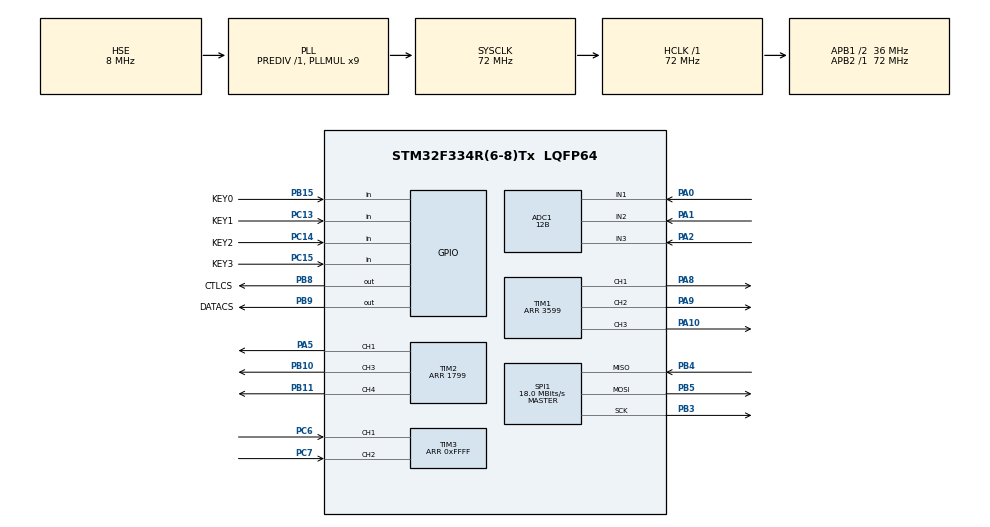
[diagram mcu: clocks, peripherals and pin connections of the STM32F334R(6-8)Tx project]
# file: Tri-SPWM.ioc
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ADC1.ClockPrescaler=ADC_CLOCK_ASYNC_DIV1
ADC1.ContinuousConvMode=DISABLE
ADC1.DMAContinuousRequests=DISABLE
ADC1.DataAlign=ADC_DATAALIGN_RIGHT
ADC1.DiscontinuousConvMode=ENABLE
ADC1.EOCSelection=ADC_EOC_SINGLE_CONV
ADC1.EnableAnalogWatchDog1=false
ADC1.EnableAnalogWatchDog2=false
ADC1.EnableAnalogWatchDog3=false
ADC1.EnableInjectedConversion=ENABLE
ADC1.EnableRegularConversion=DISABLE
ADC1.ExternalTrigInjecConv=ADC_EXTERNALTRIGINJECCONV_T6_TRGO
ADC1.ExternalTrigInjecConvEdge=ADC_EXTERNALTRIGINJECCONV_EDGE_RISING
ADC1.InjNumberOfConversion=3
ADC1.InjectedChannel-1\#ChannelInjectedConversion=ADC_CHANNEL_1
ADC1.InjectedChannel-2\#ChannelInjectedConversion=ADC_CHANNEL_2
ADC1.InjectedChannel-3\#ChannelInjectedConversion=ADC_CHANNEL_3
ADC1.InjectedConvMode=Discontinuous
ADC1.InjectedOffset-1\#ChannelInjectedConversion=0
ADC1.InjectedOffset-2\#ChannelInjectedConversion=0
ADC1.InjectedOffset-3\#ChannelInjectedConversion=0
ADC1.InjectedOffsetNumber-1\#ChannelInjectedConversion=ADC_OFFSET_NONE
ADC1.InjectedOffsetNumber-2\#ChannelInjectedConversion=ADC_OFFSET_NONE
ADC1.InjectedOffsetNumber-3\#ChannelInjectedConversion=ADC_OFFSET_NONE
ADC1.InjectedRank-1\#ChannelInjectedConversion=1
ADC1.InjectedRank-2\#ChannelInjectedConversion=2
ADC1.InjectedRank-3\#ChannelInjectedConversion=3
ADC1.InjectedSamplingTime-1\#ChannelInjectedConversion=ADC_SAMPLETIME_4CYCLES_5
ADC1.InjectedSamplingTime-2\#ChannelInjectedConversion=ADC_SAMPLETIME_4CYCLES_5
ADC1.InjectedSamplingTime-3\#ChannelInjectedConversion=ADC_SAMPLETIME_4CYCLES_5
ADC1.LowPowerAutoWait=DISABLE
ADC1.NbrOfDiscConversion=3
ADC1.Overrun=ADC_OVR_DATA_OVERWRITTEN
ADC1.QueueInjectedContext=DISABLE
ADC1.Resolution=ADC_RESOLUTION_12B
ADC1.ScanConvMode=ADC_SCAN_ENABLE
ADC1.SubFamily=STM32F334x8
ADC1.master=1
FREERTOS.INCLUDE_uxTaskGetStackHighWaterMark=0
FREERTOS.INCLUDE_uxTaskPriorityGet=0
FREERTOS.INCLUDE_vTaskDelete=0
FREERTOS.INCLUDE_vTaskPrioritySet=0
FREERTOS.INCLUDE_xTaskGetCurrentTaskHandle=0
FREERTOS.MEMORY_ALLOCATION=2
FREERTOS.Tasks01=T01,0,128,StartDefaultTask,As weak,NULL,Static,defaultTaskBuffer,defaultTaskControlBlock;GUI,-3,1024,StartGUI,As weak,NULL,Static,GUIBuffer,GUIControlBlock
FREERTOS.configMAX_TASK_NAME_LEN=4
FREERTOS.configMINIMAL_STACK_SIZE=128
FREERTOS.configTOTAL_HEAP_SIZE=4096
FREERTOS.configUSE_IDLE_HOOK=0
FREERTOS.configUSE_MALLOC_FAILED_HOOK=0
FREERTOS.configUSE_MUTEXES=0
FREERTOS.configUSE_TICKLESS_IDLE=1
FREERTOS.configUSE_TICK_HOOK=0
Mcu.Family=STM32F3
Mcu.Name=STM32F334R(6-8)Tx
Mcu.Package=LQFP64
NVIC.PriorityGroup=NVIC_PRIORITYGROUP_4
NVIC.TIM1_UP_TIM16_IRQn=true\:0\:0\:false\:false\:true\:false
NVIC.TIM6_DAC1_IRQn=true\:0\:0\:false\:false\:true\:false
NVIC.TIM7_DAC2_IRQn=true\:0\:0\:false\:false\:true\:false
NVIC.TimeBase=TIM7_DAC2_IRQn
NVIC.TimeBaseIP=TIM7
PA0.Mode=IN1-Single-Ended
PA0.Signal=ADC1_IN1
PA1.Mode=IN2-Single-Ended
PA1.Signal=ADC1_IN2
PA10.Signal=S_TIM1_CH3
PA13.Mode=Serial_Wire
PA13.Signal=SYS_JTMS-SWDIO
PA14.Mode=Serial_Wire
PA14.Signal=SYS_JTCK-SWCLK
PA2.Mode=IN3-Single-Ended
PA2.Signal=ADC1_IN3
PA5.Signal=S_TIM2_CH1_ETR
PA8.Signal=S_TIM1_CH1
PA9.Signal=S_TIM1_CH2
PB10.Signal=S_TIM2_CH3
PB11.Signal=S_TIM2_CH4
PB15.GPIO_Label=KEY0
PB15.GPIO_PuPd=GPIO_PULLUP
PB15.Signal=GPIO_Input
PB3.Mode=Full_Duplex_Master
PB3.Signal=SPI1_SCK
PB4.Mode=Full_Duplex_Master
PB4.Signal=SPI1_MISO
PB5.Mode=Full_Duplex_Master
PB5.Signal=SPI1_MOSI
PB8.GPIO_Label=CTLCS
PB8.GPIO_Speed=GPIO_SPEED_FREQ_HIGH
PB8.Signal=GPIO_Output
PB9.GPIO_Label=DATACS
PB9.GPIO_Speed=GPIO_SPEED_FREQ_HIGH
PB9.Signal=GPIO_Output
PC13.GPIO_Label=KEY1
PC13.GPIO_PuPd=GPIO_PULLUP
PC13.Signal=GPIO_Input
PC14\ /\ OSC32_IN.GPIO_Label=KEY2
PC14\ /\ OSC32_IN.GPIO_PuPd=GPIO_PULLUP
PC14\ /\ OSC32_IN.Signal=GPIO_Input
PC15\ /\ OSC32_OUT.GPIO_Label=KEY3
PC15\ /\ OSC32_OUT.GPIO_PuPd=GPIO_PULLUP
PC15\ /\ OSC32_OUT.Signal=GPIO_Input
PC6.Signal=S_TIM3_CH1
PC7.Signal=S_TIM3_CH2
PF0\ /\ OSC_IN.Mode=HSE-External-Oscillator
PF0\ /\ OSC_IN.Signal=RCC_OSC_IN
PF1\ /\ OSC_OUT.Mode=HSE-External-Oscillator
PF1\ /\ OSC_OUT.Signal=RCC_OSC_OUT
ProjectManager.HeapSize=0x200
ProjectManager.StackSize=0x400
ProjectManager.TargetToolchain=EWARM
RCC.AHBFreq_Value=72000000
RCC.APB1CLKDivider=RCC_HCLK_DIV2
RCC.APB1Freq_Value=36000000
RCC.APB1TimFreq_Value=72000000
RCC.APB2Freq_Value=72000000
RCC.APB2TimFreq_Value=72000000
RCC.CortexFreq_Value=72000000
RCC.HCLKFreq_Value=72000000
RCC.HRTIMSelection=RCC_HRTIM1CLK_PLLCLK
RCC.HSE_VALUE=8000000
RCC.HSI_VALUE=8000000
RCC.LSE_VALUE=32768
RCC.PLLMUL=RCC_PLL_MUL9
RCC.PLLSourceVirtual=RCC_PLLSOURCE_HSE
RCC.SYSCLKFreq_VALUE=72000000
RCC.SYSCLKSourceVirtual=RCC_SYSCLKSOURCE_PLLCLK
RCC.TIM1Selection=RCC_TIM1CLK_PLLCLK
SH.S_TIM1_CH1.0=TIM1_CH1,PWM Generation1 CH1
SH.S_TIM1_CH2.0=TIM1_CH2,PWM Generation2 CH2
SH.S_TIM1_CH3.0=TIM1_CH3,PWM Generation3 CH3
SH.S_TIM2_CH1_ETR.0=TIM2_CH1,PWM Generation1 CH1
SH.S_TIM2_CH3.0=TIM2_CH3,PWM Generation3 CH3
SH.S_TIM2_CH4.0=TIM2_CH4,PWM Generation4 CH4
SH.S_TIM3_CH1.0=TIM3_CH1,Encoder_Interface
SH.S_TIM3_CH2.0=TIM3_CH2,Encoder_Interface
SPI1.BaudRatePrescaler=SPI_BAUDRATEPRESCALER_4
SPI1.CalculateBaudRate=18.0 MBits/s
SPI1.DataSize=SPI_DATASIZE_8BIT
SPI1.Direction=SPI_DIRECTION_2LINES
SPI1.Mode=SPI_MODE_MASTER
SPI1.VirtualType=VM_MASTER
TIM1.AutoReloadPreload=TIM_AUTORELOAD_PRELOAD_ENABLE
TIM1.Channel-PWM\ Generation1\ CH1=TIM_CHANNEL_1
TIM1.Channel-PWM\ Generation2\ CH2=TIM_CHANNEL_2
TIM1.Channel-PWM\ Generation3\ CH3=TIM_CHANNEL_3
TIM1.Period=3599
TIM1.RepetitionCounter=7
TIM1.TIM_MasterOutputTrigger=TIM_TRGO_RESET
TIM2.Channel-PWM\ Generation1\ CH1=TIM_CHANNEL_1
TIM2.Channel-PWM\ Generation3\ CH3=TIM_CHANNEL_3
TIM2.Channel-PWM\ Generation4\ CH4=TIM_CHANNEL_4
TIM2.Period=1799
TIM3.EncoderMode=TIM_ENCODERMODE_TI12
TIM3.IC1Polarity=TIM_ICPOLARITY_FALLING
TIM3.IC2Polarity=TIM_ICPOLARITY_FALLING
TIM3.Period=0xFFFF
TIM6.Period=359
TIM6.Prescaler=0
TIM6.TIM_MasterOutputTrigger=TIM_TRGO_UPDATE
VP_FREERTOS_VS_ENABLE.Mode=Enabled
VP_SYS_VS_tim7.Mode=TIM7
VP_TIM1_VS_ClockSourceINT.Mode=Internal
VP_TIM1_VS_ClockSourceITR.Mode=TriggerSource_ITR0
VP_TIM2_VS_ClockSourceINT.Mode=Internal
VP_TIM2_VS_ClockSourceITR.Mode=TriggerSource_ITR0
VP_TIM6_VS_ClockSourceINT.Mode=Enable_Timer
board=Tri-SPWM

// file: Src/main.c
/**
  ******************************************************************************
  * File Name          : main.c
  * Description        : Main program body
  ******************************************************************************
  * This notice applies to any and all portions of this file
  * that are not between comment pairs USER CODE BEGIN and
  * USER CODE END. Other portions of this file, whether
  * inserted by the user or by software development tools
  * are owned by their respective copyright owners.
  *
  * Copyright (c) 2017 STMicroelectronics International N.V.
  * All rights reserved.
  *
  * Redistribution and use in source and binary forms, with or without
  * modification, are permitted, provided that the following conditions are met:
  *
  * 1. Redistribution of source code must retain the above copyright notice,
  *    this list of conditions and the following disclaimer.
  * 2. Redistributions in binary form must reproduce the above copyright notice,
  *    this list of conditions and the following disclaimer in the documentation
  *    and/or other materials provided with the distribution.
  * 3. Neither the name of STMicroelectronics nor the names of other
  *    contributors to this software may be used to endorse or promote products
  *    derived from this software without specific written permission.
  * 4. This software, including modifications and/or derivative works of this
  *    software, must execute solely and exclusively on microcontroller or
  *    microprocessor devices manufactured by or for STMicroelectronics.
  * 5. Redistribution and use of this software other than as permitted under
  *    this license is void and will automatically terminate your rights under
  *    this license.
  *
  * THIS SOFTWARE IS PROVIDED BY STMICROELECTRONICS AND CONTRIBUTORS "AS IS"
  * AND ANY EXPRESS, IMPLIED OR STATUTORY WARRANTIES, INCLUDING, BUT NOT
  * LIMITED TO, THE IMPLIED WARRANTIES OF MERCHANTABILITY, FITNESS FOR A
  * PARTICULAR PURPOSE AND NON-INFRINGEMENT OF THIRD PARTY INTELLECTUAL PROPERTY
  * RIGHTS ARE DISCLAIMED TO THE FULLEST EXTENT PERMITTED BY LAW. IN NO EVENT
  * SHALL STMICROELECTRONICS OR CONTRIBUTORS BE LIABLE FOR ANY DIRECT, INDIRECT,
  * INCIDENTAL, SPECIAL, EXEMPLARY, OR CONSEQUENTIAL DAMAGES (INCLUDING, BUT NOT
  * LIMITED TO, PROCUREMENT OF SUBSTITUTE GOODS OR SERVICES; LOSS OF USE, DATA,
  * OR PROFITS; OR BUSINESS INTERRUPTION) HOWEVER CAUSED AND ON ANY THEORY OF
  * LIABILITY, WHETHER IN CONTRACT, STRICT LIABILITY, OR TORT (INCLUDING
  * NEGLIGENCE OR OTHERWISE) ARISING IN ANY WAY OUT OF THE USE OF THIS SOFTWARE,
  * EVEN IF ADVISED OF THE POSSIBILITY OF SUCH DAMAGE.
  *
  ******************************************************************************
  */
#include "main.h"
#include "stm32f3xx_hal.h"
#include "cmsis_os.h"
#include "adc.h"
#include "spi.h"
#include "tim.h"
#include "gpio.h"

/* USER CODE BEGIN Includes */
#include "wave.h"
#include "littleGUI.h"
/* USER CODE END Includes */

/* USER CODE BEGIN PV */
/* Private variables ---------------------------------------------------------*/

/* USER CODE END PV */

void SystemClock_Config(void);
void MX_FREERTOS_Init(void);

/* USER CODE BEGIN PFP */
/* Private function prototypes -----------------------------------------------*/

/* USER CODE END PFP */

int main(void)
{

  /* MCU Configuration----------------------------------------------------------*/

  /* Reset of all peripherals, Initializes the Flash interface and the Systick. */
  HAL_Init();

  /* Configure the system clock */
  SystemClock_Config();

  /* Initialize all configured peripherals */
  MX_GPIO_Init();
  MX_ADC1_Init();
  MX_TIM1_Init();
  MX_TIM6_Init();
  MX_SPI1_Init();
  MX_TIM3_Init();
  MX_TIM2_Init();

  /* Call init function for freertos objects (in freertos.c) */
  MX_FREERTOS_Init();

  /* Start scheduler */
  osKernelStart();

  /* We should never get here as control is now taken by the scheduler */

  /* Infinite loop */
  while (1)
  {

  }

}

/** System Clock Configuration
*/
void SystemClock_Config(void)
{

  RCC_OscInitTypeDef RCC_OscInitStruct;
  RCC_ClkInitTypeDef RCC_ClkInitStruct;
  RCC_PeriphCLKInitTypeDef PeriphClkInit;

    /**Initializes the CPU, AHB and APB busses clocks
    */
  RCC_OscInitStruct.OscillatorType = RCC_OSCILLATORTYPE_HSE;
  RCC_OscInitStruct.HSEState = RCC_HSE_ON;
  RCC_OscInitStruct.HSEPredivValue = RCC_HSE_PREDIV_DIV1;
  RCC_OscInitStruct.HSIState = RCC_HSI_ON;
  RCC_OscInitStruct.PLL.PLLState = RCC_PLL_ON;
  RCC_OscInitStruct.PLL.PLLSource = RCC_PLLSOURCE_HSE;
  RCC_OscInitStruct.PLL.PLLMUL = RCC_PLL_MUL9;
  if (HAL_RCC_OscConfig(&RCC_OscInitStruct) != HAL_OK)
  {
    _Error_Handler(__FILE__, __LINE__);
  }

    /**Initializes the CPU, AHB and APB busses clocks
    */
  RCC_ClkInitStruct.ClockType = RCC_CLOCKTYPE_HCLK|RCC_CLOCKTYPE_SYSCLK
                              |RCC_CLOCKTYPE_PCLK1|RCC_CLOCKTYPE_PCLK2;
  RCC_ClkInitStruct.SYSCLKSource = RCC_SYSCLKSOURCE_PLLCLK;
  RCC_ClkInitStruct.AHBCLKDivider = RCC_SYSCLK_DIV1;
  RCC_ClkInitStruct.APB1CLKDivider = RCC_HCLK_DIV2;
  RCC_ClkInitStruct.APB2CLKDivider = RCC_HCLK_DIV1;

  if (HAL_RCC_ClockConfig(&RCC_ClkInitStruct, FLASH_LATENCY_2) != HAL_OK)
  {
    _Error_Handler(__FILE__, __LINE__);
  }

  PeriphClkInit.PeriphClockSelection = RCC_PERIPHCLK_TIM1|RCC_PERIPHCLK_ADC12;
  PeriphClkInit.Adc12ClockSelection = RCC_ADC12PLLCLK_DIV1;
  PeriphClkInit.Tim1ClockSelection = RCC_TIM1CLK_PLLCLK;
  if (HAL_RCCEx_PeriphCLKConfig(&PeriphClkInit) != HAL_OK)
  {
    _Error_Handler(__FILE__, __LINE__);
  }

    /**Configure the Systick interrupt time
    */
  HAL_SYSTICK_Config(HAL_RCC_GetHCLKFreq()/1000);

    /**Configure the Systick
    */
  HAL_SYSTICK_CLKSourceConfig(SYSTICK_CLKSOURCE_HCLK);

  /* SysTick_IRQn interrupt configuration */
  HAL_NVIC_SetPriority(SysTick_IRQn, 15, 0);
}

void HAL_TIM_PeriodElapsedCallback(TIM_HandleTypeDef *htim)
{
/* USER CODE BEGIN Callback 0 */
  extern void PWM_CALLBACK(void);
/* USER CODE END Callback 0 */
  if (htim->Instance == TIM7) {
    HAL_IncTick();
  }
/* USER CODE BEGIN Callback 1 */
  else if (htim->Instance == TIM1) {
    static uint8_t cnt = 0;
    if (++cnt >= 5)
    {
      cnt = 0;
      KEY_Scan();
    }
    PWM_CALLBACK();
  }

  else if (htim->Instance == TIM6) {
    //Arry_IN();

  }
/* USER CODE END Callback 1 */
}

void _Error_Handler(char * file, int line)
{
  while(1)
  {
  }
}

/************************ (C) COPYRIGHT STMicroelectronics *****END OF FILE****/

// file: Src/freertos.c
/**
  ******************************************************************************
  * File Name          : freertos.c
  * Description        : Code for freertos applications
  ******************************************************************************
  * This notice applies to any and all portions of this file
  * that are not between comment pairs USER CODE BEGIN and
  * USER CODE END. Other portions of this file, whether
  * inserted by the user or by software development tools
  * are owned by their respective copyright owners.
  *
  * Copyright (c) 2017 STMicroelectronics International N.V.
  * All rights reserved.
  *
  * Redistribution and use in source and binary forms, with or without
  * modification, are permitted, provided that the following conditions are met:
  *
  * 1. Redistribution of source code must retain the above copyright notice,
  *    this list of conditions and the following disclaimer.
  * 2. Redistributions in binary form must reproduce the above copyright notice,
  *    this list of conditions and the following disclaimer in the documentation
  *    and/or other materials provided with the distribution.
  * 3. Neither the name of STMicroelectronics nor the names of other
  *    contributors to this software may be used to endorse or promote products
  *    derived from this software without specific written permission.
  * 4. This software, including modifications and/or derivative works of this
  *    software, must execute solely and exclusively on microcontroller or
  *    microprocessor devices manufactured by or for STMicroelectronics.
  * 5. Redistribution and use of this software other than as permitted under
  *    this license is void and will automatically terminate your rights under
  *    this license.
  *
  * THIS SOFTWARE IS PROVIDED BY STMICROELECTRONICS AND CONTRIBUTORS "AS IS"
  * AND ANY EXPRESS, IMPLIED OR STATUTORY WARRANTIES, INCLUDING, BUT NOT
  * LIMITED TO, THE IMPLIED WARRANTIES OF MERCHANTABILITY, FITNESS FOR A
  * PARTICULAR PURPOSE AND NON-INFRINGEMENT OF THIRD PARTY INTELLECTUAL PROPERTY
  * RIGHTS ARE DISCLAIMED TO THE FULLEST EXTENT PERMITTED BY LAW. IN NO EVENT
  * SHALL STMICROELECTRONICS OR CONTRIBUTORS BE LIABLE FOR ANY DIRECT, INDIRECT,
  * INCIDENTAL, SPECIAL, EXEMPLARY, OR CONSEQUENTIAL DAMAGES (INCLUDING, BUT NOT
  * LIMITED TO, PROCUREMENT OF SUBSTITUTE GOODS OR SERVICES; LOSS OF USE, DATA,
  * OR PROFITS; OR BUSINESS INTERRUPTION) HOWEVER CAUSED AND ON ANY THEORY OF
  * LIABILITY, WHETHER IN CONTRACT, STRICT LIABILITY, OR TORT (INCLUDING
  * NEGLIGENCE OR OTHERWISE) ARISING IN ANY WAY OUT OF THE USE OF THIS SOFTWARE,
  * EVEN IF ADVISED OF THE POSSIBILITY OF SUCH DAMAGE.
  *
  ******************************************************************************
  */

#include "FreeRTOS.h"
#include "task.h"
#include "cmsis_os.h"

/* USER CODE BEGIN Includes */
#include "PWM-Basic.h"
#include "PWM-Regulator.h"
#include "PWM-Tri.h"
//#include "hrtim.h"
#include "tim.h"
#include "adc.h"
#include <stdio.h>
/* USER CODE END Includes */

osThreadId T01Handle;
uint32_t defaultTaskBuffer[ 128 ];
osStaticThreadDef_t defaultTaskControlBlock;
osThreadId GUIHandle;
uint32_t GUIBuffer[ 1024 ];
osStaticThreadDef_t GUIControlBlock;

/* USER CODE BEGIN Variables */
PWM_Basic_t PWM_BASIC[6];
PWM_Tri_t   PWM_TRI;
uint16_t pu16CurrentADC[6]; // ADC2使用DMA方式采集电流反馈
/* USER CODE END Variables */

void StartDefaultTask(void const * argument);
void StartGUI(void const * argument);

void MX_FREERTOS_Init(void); /* (MISRA C 2004 rule 8.1) */

/* USER CODE BEGIN FunctionPrototypes */
void PWM_DriverInit(void);
/* USER CODE END FunctionPrototypes */

/* Pre/Post sleep processing prototypes */
void PreSleepProcessing(uint32_t *ulExpectedIdleTime);
void PostSleepProcessing(uint32_t *ulExpectedIdleTime);

/* GetIdleTaskMemory prototype (linked to static allocation support) */
void vApplicationGetIdleTaskMemory( StaticTask_t **ppxIdleTaskTCBBuffer, StackType_t **ppxIdleTaskStackBuffer, uint32_t *pulIdleTaskStackSize );

/* Hook prototypes */

/* USER CODE BEGIN PREPOSTSLEEP */
__weak void PreSleepProcessing(uint32_t *ulExpectedIdleTime)
{
/* place for user code */
}

__weak void PostSleepProcessing(uint32_t *ulExpectedIdleTime)
{
/* place for user code */
}
/* USER CODE END PREPOSTSLEEP */

/* USER CODE BEGIN GET_IDLE_TASK_MEMORY */
static StaticTask_t xIdleTaskTCBBuffer;
static StackType_t xIdleStack[configMINIMAL_STACK_SIZE];

void vApplicationGetIdleTaskMemory( StaticTask_t **ppxIdleTaskTCBBuffer, StackType_t **ppxIdleTaskStackBuffer, uint32_t *pulIdleTaskStackSize )
{
  *ppxIdleTaskTCBBuffer = &xIdleTaskTCBBuffer;
  *ppxIdleTaskStackBuffer = &xIdleStack[0];
  *pulIdleTaskStackSize = configMINIMAL_STACK_SIZE;
  /* place for user code */
}
/* USER CODE END GET_IDLE_TASK_MEMORY */

/* Init FreeRTOS */

void MX_FREERTOS_Init(void) {

  /* Create the thread(s) */
  /* definition and creation of T01 */
  osThreadStaticDef(T01, StartDefaultTask, osPriorityNormal, 0, 128, defaultTaskBuffer, &defaultTaskControlBlock);
  T01Handle = osThreadCreate(osThread(T01), NULL);

  /* definition and creation of GUI */
  osThreadStaticDef(GUI, StartGUI, osPriorityIdle, 0, 1024, GUIBuffer, &GUIControlBlock);
  GUIHandle = osThreadCreate(osThread(GUI), NULL);

}

/* StartDefaultTask function */
__weak void StartDefaultTask(void const * argument)
{

  /* USER CODE BEGIN StartDefaultTask */
  PWM_DriverInit();

  /* Infinite loop */
  for(;;)
  {
    osDelay(1000);
  }
  /* USER CODE END StartDefaultTask */
}

/* StartGUI function */
__weak void StartGUI(void const * argument)
{
  for(;;)
  {
    osDelay(1);
  }
}

/* USER CODE BEGIN Application */
void PWM_DriverInit(void)
{
  for (int i = 0; i < 3; i++)
  {
    PWM_BASIC[i].Frequence = 40e3;
    PWM_BASIC[i].ReloadValue = 3600;
    PWM_BASIC[i].PWM_ID = i + 1;
    PWM_BASIC[i].CC_Max = 3600 - 1;
    PWM_BASIC[i].CC_Min = 0;
    PWM_BASIC[i].DutyCycle = 0.0f;
    PWM_BASIC[i].CC = 0;
  }
  for (int i = 0; i < 3; i++)
  {
    PWM_BASIC[i + 3].PWM_ID = i + 3 + 1;
    PWM_BASIC[i + 3].Frequence = 40e3;
    PWM_BASIC[i + 3].ReloadValue = 1800;
    PWM_BASIC[i + 3].CC_Max = 1800 -1;
    PWM_BASIC[i + 3].CC_Min = 0;
    PWM_BASIC[i + 3].DutyCycle = 0.0f;
    PWM_BASIC[i + 3].CC = 0;
  }

  PWM_TRI.pPWM_A = PWM_BASIC;
  PWM_TRI.pPWM_B = PWM_BASIC + 1;
  PWM_TRI.pPWM_C = PWM_BASIC + 2;
  PWM_TRI.pPWM_AS = PWM_BASIC + 3;
  PWM_TRI.pPWM_BS = PWM_BASIC + 4;
  PWM_TRI.pPWM_CS = PWM_BASIC + 5;

  PWM_TRI.PID.Kp = 0.8;
  PWM_TRI.PID.Ki = 0.04;
  PWM_TRI.PID.Kd = 0;

  PWM_TRI.K = 1.0f;

  PWM_TRI.PID_I.Kp = 0.1;
  PWM_TRI.PID_I.Ki = 0.01;
  PWM_TRI.fTargetVrms = 5;
  PWM_TRI.fInputVoltage = 50;
  PWM_TRI.fTargetFreq = 50.0f;
  PWM_TRI.uSampleFreq = 5e3;
  PWM_TRI_Init(&PWM_TRI);

  HAL_ADCEx_Calibration_Start(&hadc1, ADC_SINGLE_ENDED);
  //HAL_ADCEx_Calibration_Start(&hadc2, ADC_SINGLE_ENDED);
  HAL_Delay(10);

  HAL_ADCEx_InjectedStart(&hadc1);
  //HAL_ADC_Start_DMA(&hadc2, (uint32_t*)pu16CurrentADC, 6);

  HAL_TIM_Base_Start(&htim6);
  HAL_TIM_Base_Start(&htim2);
  HAL_TIM_Base_Start_IT(&htim1);
}
void PWM_CALLBACK(void)
{
      PWM_TRI_STEP(&PWM_TRI);
}

/* USER CODE END Application */

/************************ (C) COPYRIGHT STMicroelectronics *****END OF FILE****/
